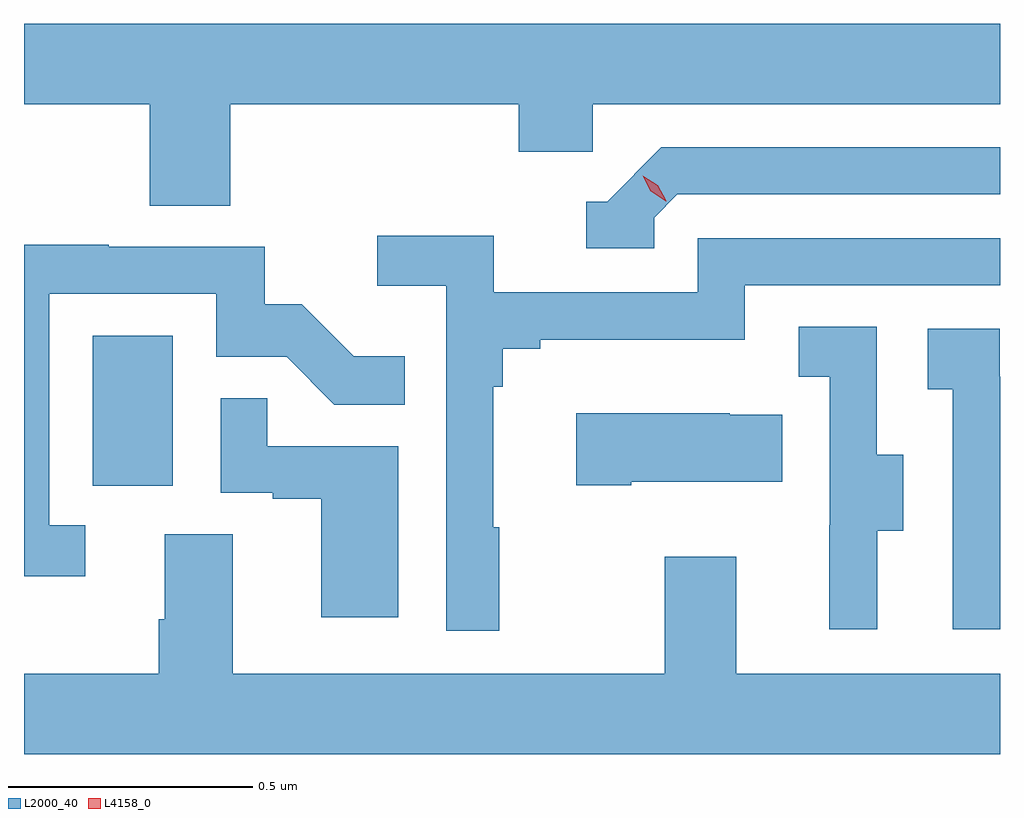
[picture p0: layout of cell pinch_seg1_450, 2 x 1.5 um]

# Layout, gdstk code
import gdstk
lib = gdstk.Library(unit=1e-6, precision=1e-09)
def R(c, l, rs):  # rectangles x0, y0, x1, y1
    for r in rs: c.add(gdstk.rectangle(r[:2], r[2:], *l))
def P(c, l, *ps):  # polygons
    for p in ps: c.add(gdstk.Polygon(p, *l))
L2000_40 = (2000, 40)
L4158_0 = (4158, 0)

pinch_seg1_450 = lib.new_cell('pinch_seg1_450')
R(pinch_seg1_450, L2000_40, [(956.75,513.654,956.914,513.961)])
P(pinch_seg1_450, L2000_40, [(957.032,514.436),(957.623,514.436),(957.623,514.338),(957.774,514.338),(957.774,514.436),(958.609,514.436),(958.609,514.6),(956.609,514.6),(956.609,514.436),(956.867,514.436),(956.867,514.228),(957.032,514.228)],
  [(957.9,514.203),(957.948,514.251),(958.609,514.251),(958.609,514.347),(957.915,514.347),(957.804,514.236),(957.761,514.236),(957.761,514.14),(957.9,514.14)],
  [(957.583,513.569),(957.571,513.569),(957.571,513.857),(957.59,513.857),(957.59,513.934),(957.667,513.934),(957.667,513.953),(958.086,513.953),(958.086,514.065),(958.609,514.065),(958.609,514.161),(957.99,514.161),(957.99,514.05),(957.572,514.05),(957.572,514.166),(957.333,514.166),(957.333,514.064),(957.474,514.064),(957.474,513.357),(957.583,513.357)],
  [(956.734,513.573),(956.661,513.573),(956.661,514.047),(957.003,514.047),(957.003,513.918),(957.147,513.918),(957.245,513.82),(957.389,513.82),(957.389,513.919),(957.285,513.919),(957.178,514.026),(957.102,514.026),(957.102,514.143),(956.783,514.143),(956.783,514.148),(956.609,514.148),(956.609,513.468),(956.734,513.468)],
  [(958.357,513.562),(958.411,513.562),(958.411,513.717),(958.356,513.717),(958.356,513.98),(958.197,513.98),(958.197,513.877),(958.26,513.877),(958.26,513.573),(958.259,513.573),(958.259,513.36),(958.357,513.36)],
  [(958.609,513.877),(958.608,513.877),(958.608,513.975),(958.461,513.975),(958.461,513.851),(958.512,513.851),(958.512,513.36),(958.609,513.36)],
  [(957.376,513.735),(957.107,513.735),(957.107,513.833),(957.012,513.833),(957.012,513.639),(957.119,513.639),(957.119,513.627),(957.218,513.627),(957.218,513.384),(957.376,513.384)],
  [(957.853,513.662),(958.163,513.662),(958.163,513.799),(958.055,513.799),(958.055,513.802),(957.741,513.802),(957.741,513.655),(957.853,513.655)],
  [(958.609,513.268),(958.069,513.268),(958.069,513.508),(957.922,513.508),(957.922,513.268),(957.037,513.268),(957.037,513.554),(956.897,513.554),(956.897,513.38),(956.885,513.38),(956.885,513.268),(956.609,513.268),(956.609,513.104),(958.609,513.104)])
P(pinch_seg1_450, L4158_0, [(957.924,514.237),(957.893,514.257),(957.877,514.289),(957.877,514.289),(957.877,514.289),(957.908,514.27),(957.925,514.238),(957.925,514.237)])

lib.write_gds('pinch_seg1_450.gds')
